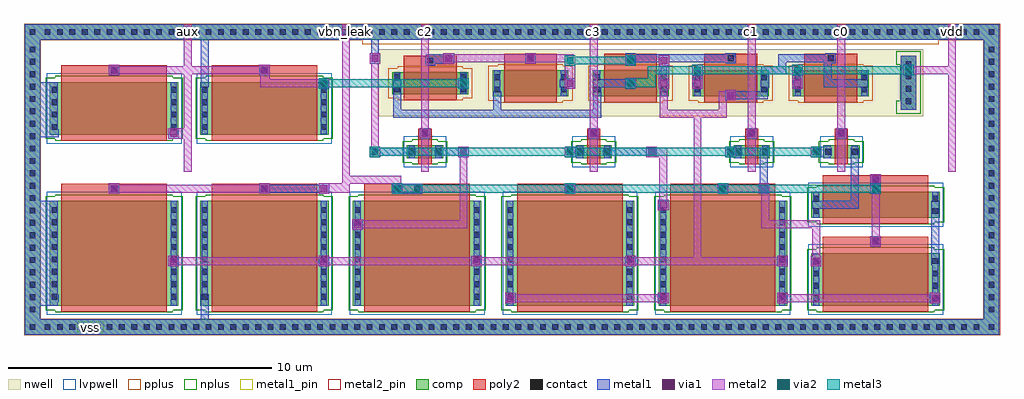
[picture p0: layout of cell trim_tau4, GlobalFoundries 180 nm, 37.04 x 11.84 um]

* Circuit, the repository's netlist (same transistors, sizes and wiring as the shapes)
* LVS reference for trim_tau4: flattened from cells/neuron/slot.spice by layout/slot/flatten.py
* Cfb (MOM capacitor, value from PEX) omitted: 
.subckt trim_tau4 aux vbn_leak c0 c1 c2 c3 vdd vss
XXB0 d vbn_leak vss vss nfet_03v3 W=4u L=4u
XXB1 d vbn_leak vss vss nfet_03v3 W=4u L=4u
XXU0 d vbn_leak s0 vss nfet_03v3 W=1u L=4u
XXS0 s0 c0 vss vss nfet_03v3 W=0.5u L=0.5u
XXU1 d vbn_leak s1 vss nfet_03v3 W=2u L=4u
XXS1 s1 c1 vss vss nfet_03v3 W=0.5u L=0.5u
XXU2 d vbn_leak s2 vss nfet_03v3 W=4u L=4u
XXS2 s2 c2 vss vss nfet_03v3 W=0.5u L=0.5u
XXU3a d vbn_leak s3 vss nfet_03v3 W=4u L=4u
XXU3b d vbn_leak s3 vss nfet_03v3 W=4u L=4u
XXS3 s3 c3 vss vss nfet_03v3 W=0.5u L=0.5u
XXPD0 d d vdd vdd pfet_03v3 W=1u L=2u
XXPD1 d d vdd vdd pfet_03v3 W=1u L=2u
XXPD2 d d vdd vdd pfet_03v3 W=1u L=2u
XXPD3 d d vdd vdd pfet_03v3 W=1u L=2u
XXPM aux d vdd vdd pfet_03v3 W=0.83u L=2u
XXNDa aux aux vss vss nfet_03v3 W=2u L=4u
XXNDb aux aux vss vss nfet_03v3 W=2u L=4u
.ends trim_tau4

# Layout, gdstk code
import gdstk
lib = gdstk.Library(unit=1e-6, precision=1e-09)
def R(c, l, rs):  # rectangles x0, y0, x1, y1
    for r in rs: c.add(gdstk.rectangle(r[:2], r[2:], *l))
def A(c, l, x, y, w, h, nx, ny, dx, dy):  # array of equal rectangles
    R(c, l, [(x+i*dx, y+j*dy, x+i*dx+w, y+j*dy+h) for i in range(nx) for j in range(ny)])
nwell = (21, 0)
comp = (22, 0)
poly2 = (30, 0)
pplus = (31, 0)
nplus = (32, 0)
contact = (33, 0)
metal1 = (34, 0)
metal1_pin = (34, 10)
via1 = (35, 0)
metal2 = (36, 0)
metal2_pin = (36, 10)
via2 = (38, 0)
metal3 = (42, 0)
lvpwell = (204, 0)

n_w4_l4 = lib.new_cell('n_w4_l4')
R(n_w4_l4, comp, [(-2.44,-2,2.44,2)])
R(n_w4_l4, poly2, [(-2,-2.22,2,2.22)])
R(n_w4_l4, nplus, [(-2.23,-2.23,2.23,-2.16), (-2.6,-2.16,2.6,2.16), (-2.23,2.16,2.23,2.23)])
A(n_w4_l4, contact, -2.37, -1.755, 0.22, 0.22, 1, 8, 0, 0.47)
A(n_w4_l4, contact, 2.15, -1.755, 0.22, 0.22, 1, 8, 0, 0.47)
R(n_w4_l4, metal1, [(-2.375,-1.99,-2.145,1.99), (2.145,-1.99,2.375,1.99)])
R(n_w4_l4, lvpwell, [(-2.56,-2.34,2.56,2.34)])

n_w1_l4 = lib.new_cell('n_w1_l4')
R(n_w1_l4, comp, [(-2.44,-0.5,2.44,0.5)])
R(n_w1_l4, poly2, [(-2,-0.72,2,0.72)])
R(n_w1_l4, nplus, [(-2.23,-0.73,2.23,-0.66), (-2.6,-0.66,2.6,0.66), (-2.23,0.66,2.23,0.73)])
R(n_w1_l4, contact, [(-2.37,-0.345,-2.15,-0.125), (2.15,-0.345,2.37,-0.125), (-2.37,0.125,-2.15,0.345), (2.15,0.125,2.37,0.345)])
R(n_w1_l4, metal1, [(-2.375,-0.49,-2.145,0.49), (2.145,-0.49,2.375,0.49)])
R(n_w1_l4, lvpwell, [(-2.56,-0.84,2.56,0.84)])

n_w2_l4 = lib.new_cell('n_w2_l4')
R(n_w2_l4, comp, [(-2.44,-1,2.44,1)])
R(n_w2_l4, poly2, [(-2,-1.22,2,1.22)])
R(n_w2_l4, nplus, [(-2.23,-1.23,2.23,-1.16), (-2.6,-1.16,2.6,1.16), (-2.23,1.16,2.23,1.23)])
A(n_w2_l4, contact, -2.37, -0.815, 0.22, 0.22, 1, 4, 0, 0.47)
A(n_w2_l4, contact, 2.15, -0.815, 0.22, 0.22, 1, 4, 0, 0.47)
R(n_w2_l4, metal1, [(-2.375,-0.99,-2.145,0.99), (2.145,-0.99,2.375,0.99)])
R(n_w2_l4, lvpwell, [(-2.56,-1.34,2.56,1.34)])

n_w0p5_l0p5 = lib.new_cell('n_w0p5_l0p5')
R(n_w0p5_l0p5, comp, [(-0.69,-0.25,0.69,0.25)])
R(n_w0p5_l0p5, poly2, [(-0.25,-0.47,0.25,0.47)])
R(n_w0p5_l0p5, nplus, [(-0.48,-0.48,0.48,-0.41), (-0.85,-0.41,0.85,0.41), (-0.48,0.41,0.48,0.48)])
R(n_w0p5_l0p5, contact, [(-0.62,-0.11,-0.4,0.11), (0.4,-0.11,0.62,0.11)])
R(n_w0p5_l0p5, metal1, [(-0.625,-0.24,-0.395,0.24), (0.395,-0.24,0.625,0.24)])
R(n_w0p5_l0p5, lvpwell, [(-0.81,-0.59,0.81,0.59)])

p_w0p83_l2 = lib.new_cell('p_w0p83_l2')
R(p_w0p83_l2, nwell, [(-1.87,-1.065,1.87,1.065)])
R(p_w0p83_l2, comp, [(-1.44,-0.415,1.44,0.415)])
R(p_w0p83_l2, poly2, [(-1,-0.635,1,0.635)])
R(p_w0p83_l2, pplus, [(-1.23,-0.645,1.23,-0.575), (-1.6,-0.575,1.6,0.575), (-1.23,0.575,1.23,0.645)])
R(p_w0p83_l2, contact, [(-1.37,-0.345,-1.15,-0.125), (1.15,-0.345,1.37,-0.125), (-1.37,0.125,-1.15,0.345), (1.15,0.125,1.37,0.345)])
R(p_w0p83_l2, metal1, [(-1.375,-0.405,-1.145,0.405), (1.145,-0.405,1.375,0.405)])

p_w1_l2 = lib.new_cell('p_w1_l2')
R(p_w1_l2, nwell, [(-1.87,-1.15,1.87,1.15)])
R(p_w1_l2, comp, [(-1.44,-0.5,1.44,0.5)])
R(p_w1_l2, poly2, [(-1,-0.72,1,0.72)])
R(p_w1_l2, pplus, [(-1.23,-0.73,1.23,-0.66), (-1.6,-0.66,1.6,0.66), (-1.23,0.66,1.23,0.73)])
R(p_w1_l2, contact, [(-1.37,-0.345,-1.15,-0.125), (1.15,-0.345,1.37,-0.125), (-1.37,0.125,-1.15,0.345), (1.15,0.125,1.37,0.345)])
R(p_w1_l2, metal1, [(-1.375,-0.49,-1.145,0.49), (1.145,-0.49,1.375,0.49)])

trim_tau4 = lib.new_cell('trim_tau4')
R(trim_tau4, nwell, [(13.4,8.3,34.1,10.85)])
R(trim_tau4, comp, [(0,0,37,0.6), (0,0.6,0.6,11.2), (36.4,0.6,37,11.2), (33.25,8.55,33.85,10.6), (0,11.2,37,11.8)])
A(trim_tau4, poly2, 7.1, 5.1, 4, 0.63, 4, 1, 5.8, 0)
A(trim_tau4, poly2, 18.2, 10.05, 2, 0.63, 4, 1, 3.8, 0)
R(trim_tau4, poly2, [(30.3,3.1,34.3,3.73), (1.4,5.1,5.4,5.73), (30.3,5.44,34.3,6.07), (14.95,7.2,15.45,7.83), (21.35,7.2,21.85,7.83), (27.35,7.2,27.85,7.83), (30.75,7.2,31.25,7.83), (1.4,9.6,5.4,10.23), (7.1,9.6,11.1,10.23), (14.4,9.965,16.4,10.595)])
R(trim_tau4, pplus, [(-0.02,-0.02,37.02,0.62), (-0.02,0.62,0.62,11.18), (36.38,0.62,37.02,11.18), (12.81,11.04,34.69,11.18), (-0.02,11.18,37.02,11.82)])
R(trim_tau4, nplus, [(33.09,8.39,34.01,8.89), (33.23,8.89,34.01,10.26), (33.09,10.26,34.01,10.76)])
A(trim_tau4, contact, 0.765, 0.19, 0.22, 0.22, 76, 2, 0.47, 11.2)
A(trim_tau4, contact, 0.19, 0.855, 0.22, 0.22, 1, 22, 0, 0.47)
A(trim_tau4, contact, 36.59, 0.855, 0.22, 0.22, 1, 22, 0, 0.47)
A(trim_tau4, contact, 8.99, 5.44, 0.22, 0.22, 4, 1, 5.8, 0)
A(trim_tau4, contact, 33.44, 8.76, 0.22, 0.22, 1, 4, 0, 0.47)
A(trim_tau4, contact, 19.09, 10.39, 0.22, 0.22, 4, 1, 3.8, 0)
R(trim_tau4, contact, [(0.19,0.19,0.41,0.41), (36.59,0.19,36.81,0.41), (32.19,3.44,32.41,3.66), (3.29,5.44,3.51,5.66), (32.19,5.78,32.41,6), (15.09,7.54,15.31,7.76), (21.49,7.54,21.71,7.76), (27.49,7.54,27.71,7.76), (30.89,7.54,31.11,7.76), (3.29,9.94,3.51,10.16), (8.99,9.94,9.21,10.16), (15.29,10.305,15.51,10.525), (0.19,11.39,0.41,11.61), (36.59,11.39,36.81,11.61)])
A(trim_tau4, metal1, 22.81, 10.65, 0.38, 0.04, 3, 1, 3.8, 0)
R(trim_tau4, metal1, [(0,0,37,0.6), (0,0.6,0.6,1.11), (6.69,0.6,6.99,1.55), (36.4,0.6,37,11.2), (0,1.11,1.025,1.25), (18.24,1.2,18.64,1.6), (24.04,1.2,24.44,1.6), (28.56,1.2,28.96,1.6), (34.36,1.2,34.76,1.6), (0,1.25,1.29,1.55), (0,1.55,1.025,5.09), (5.46,2.6,5.86,3), (11.16,2.6,11.56,3), (16.96,2.6,17.36,3), (22.8,2.6,23.2,3), (28.56,2.6,28.96,3), (29.84,2.6,30.24,3), (34.41,2.65,34.71,5.09), (32.1,3.35,32.5,3.75), (12.44,4,12.84,4.4), (24.04,4.74,24.44,5.14), (29.89,4.79,31.66,5.09), (0,5.09,0.6,7.5), (31.36,5.09,31.66,7.1), (3.2,5.35,3.6,5.75), (8.9,5.35,9.3,5.4), (11.16,5.35,11.56,5.4), (13.94,5.35,14.34,5.36), (20.5,5.35,20.9,5.75), (26.3,5.35,26.7,5.75), (27.86,5.35,28.26,5.75), (13.94,5.36,15.09,5.74), (8.9,5.4,11.56,5.7), (32.1,5.69,32.5,6.09), (8.9,5.7,9.3,5.75), (11.16,5.7,11.56,5.75), (13.94,5.74,14.34,5.75), (27.91,5.75,28.21,7.1), (13.1,6.75,13.5,6.8), (16.46,6.75,16.86,6.8), (20.5,6.75,20.975,6.8), (23.6,6.75,24,6.8), (26.6,6.75,27,6.8), (29.84,6.75,30.375,6.8), (13.1,6.8,14.84,7.1), (15.56,6.8,16.86,7.1), (20.5,6.8,21.24,7.1), (21.96,6.8,24,7.1), (26.6,6.8,27.24,7.1), (29.84,6.8,30.64,7.1), (13.1,7.1,13.5,7.15), (16.46,7.1,16.86,7.15), (20.5,7.1,20.975,7.15), (23.6,7.1,24,7.15), (26.6,7.1,27,7.15), (29.84,7.1,30.375,7.15), (5.46,7.45,5.86,7.85), (15,7.45,15.4,7.85), (21.4,7.45,21.8,7.85), (27.4,7.45,27.8,7.85), (30.8,7.45,31.2,7.85), (0,7.5,1.29,7.8), (0,7.8,1.025,9.59), (13.99,8.25,21.89,8.55), (13.99,8.55,14.29,9.7), (17.79,8.55,18.09,9.25), (21.59,8.55,21.89,9.25), (33.25,8.55,33.85,10.6), (26.6,8.9,27,8.95), (26.6,8.95,28.21,9.25), (21.59,9.25,21.625,9.4), (21.855,9.25,21.89,9.4), (26.6,9.25,27,9.3), (28.175,9.25,28.21,9.4), (11.16,9.35,11.56,9.75), (16.46,9.35,16.86,9.75), (20.5,9.35,20.9,9.4), (22.8,9.35,23.2,9.4), (24.06,9.35,24.46,9.75), (25.34,9.35,25.74,9.75), (29.14,9.35,29.54,9.75), (6.69,9.4,6.99,11.2), (20.31,9.4,20.9,9.7), (21.59,9.4,23.2,9.7), (27.96,9.4,28.26,9.9), (30.34,9.4,32.01,9.7), (0,9.59,0.6,11.2), (20.5,9.7,20.9,9.75), (22.8,9.7,23.2,9.75), (30.34,9.7,30.64,10.31), (3.2,9.85,3.6,10.25), (8.9,9.85,9.3,10.25), (27.96,9.9,28.91,10.2), (24.145,10.04,24.375,10.215), (28.61,10.2,28.91,10.35), (22.8,10.215,23.2,10.35), (24.06,10.215,24.46,10.35), (15.21,10.225,15.59,10.3), (13.1,10.3,13.5,10.7), (15.21,10.3,16.3,10.605), (19,10.3,19.4,10.7), (26.61,10.31,26.99,10.35), (30.34,10.31,30.79,10.35), (22.8,10.35,26.99,10.615), (28.61,10.35,30.79,10.65), (15.25,10.605,16.3,10.65), (22.81,10.615,26.99,10.65), (15.9,10.65,16.3,10.7), (13.15,10.7,13.45,11.2), (0,11.2,37,11.8)])
R(trim_tau4, metal1_pin, [(2,0.1,3,0.5)])
R(trim_tau4, via1, [(18.31,1.27,18.57,1.53), (24.11,1.27,24.37,1.53), (28.63,1.27,28.89,1.53), (34.43,1.27,34.69,1.53), (5.53,2.67,5.79,2.93), (11.23,2.67,11.49,2.93), (17.03,2.67,17.29,2.93), (22.87,2.67,23.13,2.93), (28.63,2.67,28.89,2.93), (29.91,2.67,30.17,2.93), (32.17,3.42,32.43,3.68), (12.51,4.07,12.77,4.33), (24.11,4.81,24.37,5.07), (3.27,5.42,3.53,5.68), (8.97,5.42,9.23,5.68), (11.23,5.42,11.49,5.68), (14.01,5.42,14.27,5.68), (20.57,5.42,20.83,5.68), (26.37,5.42,26.63,5.68), (27.93,5.42,28.19,5.68), (32.17,5.76,32.43,6.02), (13.17,6.82,13.43,7.08), (16.53,6.82,16.79,7.08), (20.57,6.82,20.83,7.08), (23.67,6.82,23.93,7.08), (26.67,6.82,26.93,7.08), (29.91,6.82,30.17,7.08), (5.53,7.52,5.79,7.78), (15.07,7.52,15.33,7.78), (21.47,7.52,21.73,7.78), (27.47,7.52,27.73,7.78), (30.87,7.52,31.13,7.78), (26.67,8.97,26.93,9.23), (11.23,9.42,11.49,9.68), (16.53,9.42,16.79,9.68), (20.57,9.42,20.83,9.68), (22.87,9.42,23.13,9.68), (24.13,9.42,24.39,9.68), (25.41,9.42,25.67,9.68), (29.21,9.42,29.47,9.68), (3.27,9.92,3.53,10.18), (8.97,9.92,9.23,10.18), (33.42,9.92,33.68,10.18), (22.87,10.285,23.13,10.545), (24.13,10.285,24.39,10.545), (13.17,10.37,13.43,10.63), (15.97,10.37,16.23,10.63), (19.07,10.37,19.33,10.63)])
R(trim_tau4, metal2, [(18.24,1.2,18.64,1.25), (24.04,1.2,24.44,1.25), (28.56,1.2,28.96,1.25), (34.36,1.2,34.76,1.25), (18.24,1.25,24.44,1.55), (28.56,1.25,34.76,1.55), (18.24,1.55,18.64,1.6), (24.04,1.55,24.44,1.6), (28.56,1.55,28.96,1.6), (34.36,1.55,34.76,1.6), (5.46,2.6,5.86,2.65), (11.16,2.6,11.56,2.65), (16.96,2.6,17.36,2.65), (22.8,2.6,23.2,2.65), (28.56,2.6,28.96,2.65), (29.84,2.6,30.24,3), (5.46,2.65,28.96,2.95), (5.46,2.95,5.86,3), (11.16,2.95,11.56,3), (16.96,2.95,17.36,3), (22.8,2.95,23.2,3), (25.39,2.95,25.69,8.25), (28.56,2.95,28.96,3), (29.89,3,30.19,4.05), (32.1,3.35,32.5,3.75), (32.15,3.75,32.45,5.35), (12.44,4,12.84,4.05), (12.44,4.05,16.81,4.35), (27.96,4.05,30.19,4.35), (12.44,4.35,12.84,4.4), (16.51,4.35,16.81,6.75), (27.96,4.35,28.26,5.35), (24.04,4.74,24.44,5.14), (24.09,5.14,24.39,6.75), (3.2,5.35,3.6,5.4), (8.9,5.35,9.3,5.4), (11.16,5.35,11.56,5.4), (13.94,5.35,14.34,5.74), (20.5,5.35,20.9,5.75), (26.3,5.35,26.7,5.75), (27.86,5.35,28.26,5.75), (32.1,5.35,32.5,6.09), (3.2,5.4,9.3,5.7), (11.16,5.4,12.35,5.74), (3.2,5.7,3.6,5.75), (8.9,5.7,9.3,5.75), (11.16,5.74,14.34,5.75), (12.05,5.75,14.29,6.04), (12.05,6.04,12.35,11.8), (6.05,6.2,6.35,7.45), (15.05,6.2,15.35,7.45), (21.45,6.2,21.75,7.45), (27.45,6.2,27.75,7.45), (30.85,6.2,31.15,7.45), (35.05,6.2,35.35,9.9), (13.1,6.75,13.5,7.15), (16.46,6.75,16.86,7.15), (20.5,6.75,20.9,7.15), (23.6,6.75,24.39,7.1), (26.6,6.75,27,7.15), (29.84,6.75,30.24,7.15), (23.6,7.1,24,7.15), (13.15,7.15,13.45,10.3), (5.46,7.45,6.35,7.85), (15,7.45,15.4,7.85), (21.4,7.45,21.8,7.85), (27.4,7.45,27.8,7.85), (30.8,7.45,31.2,7.85), (6.05,7.85,6.35,9.9), (15.05,7.85,15.35,11.8), (21.45,7.85,21.75,11.8), (27.45,7.85,27.75,11.8), (30.85,7.85,31.15,11.8), (24.11,8.25,26.65,8.55), (24.11,8.55,24.41,9.35), (26.35,8.55,26.65,8.9), (26.35,8.9,27,9.25), (26.6,9.25,27,9.3), (11.16,9.35,11.56,9.4), (16.46,9.35,16.86,9.75), (20.5,9.35,20.9,10.35), (22.8,9.35,23.2,9.75), (24.06,9.35,24.46,10.615), (25.34,9.35,25.74,10.25), (29.14,9.35,29.54,10.25), (8.95,9.4,11.56,9.7), (8.95,9.7,9.3,9.85), (11.16,9.7,11.56,9.75), (3.2,9.85,3.6,9.9), (8.9,9.85,9.3,9.9), (33.35,9.85,33.75,9.9), (3.2,9.9,9.3,10.2), (33.35,9.9,35.35,10.2), (3.2,10.2,3.6,10.25), (6.05,10.2,6.35,11.8), (8.9,10.2,9.3,10.25), (33.35,10.2,33.75,10.25), (35.05,10.2,35.35,11.8), (22.8,10.215,23.2,10.615), (13.1,10.3,13.5,10.7), (15.9,10.3,16.3,10.35), (19,10.3,19.4,10.35), (15.9,10.35,20.9,10.615), (15.9,10.615,20.85,10.65), (15.9,10.65,16.3,10.7), (19,10.65,19.4,10.7)])
R(trim_tau4, metal2_pin, [(6.05,11.3,6.35,11.7), (12.05,11.3,12.35,11.7), (15.05,11.3,15.35,11.7), (21.45,11.3,21.75,11.7), (27.45,11.3,27.75,11.7), (30.85,11.3,31.15,11.7), (35.05,11.3,35.35,11.7)])
A(trim_tau4, via2, 20.57, 5.42, 0.26, 0.26, 3, 1, 5.8, 0)
R(trim_tau4, via2, [(14.01,5.42,14.27,5.68), (13.17,6.82,13.43,7.08), (20.57,6.82,20.83,7.08), (26.67,6.82,26.93,7.08), (29.91,6.82,30.17,7.08), (11.23,9.42,11.49,9.68), (16.53,9.42,16.79,9.68), (22.87,9.42,23.13,9.68), (25.41,9.92,25.67,10.18), (29.21,9.92,29.47,10.18), (33.42,9.92,33.68,10.18), (20.57,10.285,20.83,10.545), (22.87,10.285,23.13,10.545)])
A(trim_tau4, metal3, 20.5, 5.35, 0.4, 0.05, 3, 2, 5.8, 0.35)
R(trim_tau4, metal3, [(13.94,5.35,14.34,5.4), (13.94,5.4,32.5,5.7), (13.94,5.7,14.34,5.75), (13.1,6.75,13.5,6.8), (20.5,6.75,20.9,6.8), (26.6,6.75,27,6.8), (29.84,6.75,30.24,6.8), (13.1,6.8,30.24,7.1), (13.1,7.1,13.5,7.15), (20.5,7.1,20.9,7.15), (26.6,7.1,27,7.15), (29.84,7.1,30.24,7.15), (11.16,9.35,11.56,9.4), (16.46,9.35,16.86,9.4), (22.8,9.35,23.2,9.4), (11.16,9.4,16.86,9.7), (22.8,9.4,23.95,9.75), (11.16,9.7,11.56,9.75), (16.46,9.7,16.86,9.75), (23.65,9.75,23.95,9.9), (25.34,9.85,25.74,9.9), (29.14,9.85,29.54,9.9), (33.35,9.85,33.75,9.9), (23.65,9.9,33.75,10.2), (25.34,10.2,25.74,10.25), (29.14,10.2,29.54,10.25), (33.35,10.2,33.75,10.25), (20.5,10.215,20.9,10.265), (22.8,10.215,23.2,10.265), (20.5,10.265,23.2,10.565), (20.5,10.565,20.9,10.615), (22.8,10.565,23.2,10.615)])
trim_tau4.add(gdstk.Reference(n_w4_l4, (3.4,3.1)))
trim_tau4.add(gdstk.Reference(n_w4_l4, (9.1,3.1)))
trim_tau4.add(gdstk.Reference(n_w4_l4, (14.9,3.1)))
trim_tau4.add(gdstk.Reference(n_w4_l4, (20.7,3.1)))
trim_tau4.add(gdstk.Reference(n_w4_l4, (26.5,3.1)))
trim_tau4.add(gdstk.Reference(n_w1_l4, (32.3,4.94)))
trim_tau4.add(gdstk.Reference(n_w2_l4, (32.3,2.1)))
trim_tau4.add(gdstk.Reference(n_w2_l4, (3.4,8.6)))
trim_tau4.add(gdstk.Reference(n_w2_l4, (9.1,8.6)))
trim_tau4.add(gdstk.Reference(n_w0p5_l0p5, (15.2,6.95)))
trim_tau4.add(gdstk.Reference(p_w0p83_l2, (15.4,9.55)))
trim_tau4.add(gdstk.Reference(n_w0p5_l0p5, (21.6,6.95)))
trim_tau4.add(gdstk.Reference(p_w1_l2, (19.2,9.55)))
trim_tau4.add(gdstk.Reference(p_w1_l2, (23,9.55)))
trim_tau4.add(gdstk.Reference(p_w1_l2, (26.8,9.55)))
trim_tau4.add(gdstk.Reference(n_w0p5_l0p5, (31,6.95)))
trim_tau4.add(gdstk.Reference(n_w0p5_l0p5, (27.6,6.95)))
trim_tau4.add(gdstk.Reference(p_w1_l2, (30.6,9.55)))
trim_tau4.add(gdstk.Label('vss', (2.5,0.3), layer=34, texttype=10))
trim_tau4.add(gdstk.Label('aux', (6.2,11.5), layer=36, texttype=10))
trim_tau4.add(gdstk.Label('vbn_leak', (12.2,11.5), layer=36, texttype=10))
trim_tau4.add(gdstk.Label('c2', (15.2,11.5), layer=36, texttype=10))
trim_tau4.add(gdstk.Label('c3', (21.6,11.5), layer=36, texttype=10))
trim_tau4.add(gdstk.Label('c1', (27.6,11.5), layer=36, texttype=10))
trim_tau4.add(gdstk.Label('c0', (31,11.5), layer=36, texttype=10))
trim_tau4.add(gdstk.Label('vdd', (35.2,11.5), layer=36, texttype=10))

lib.write_gds('trim_tau4.gds')
